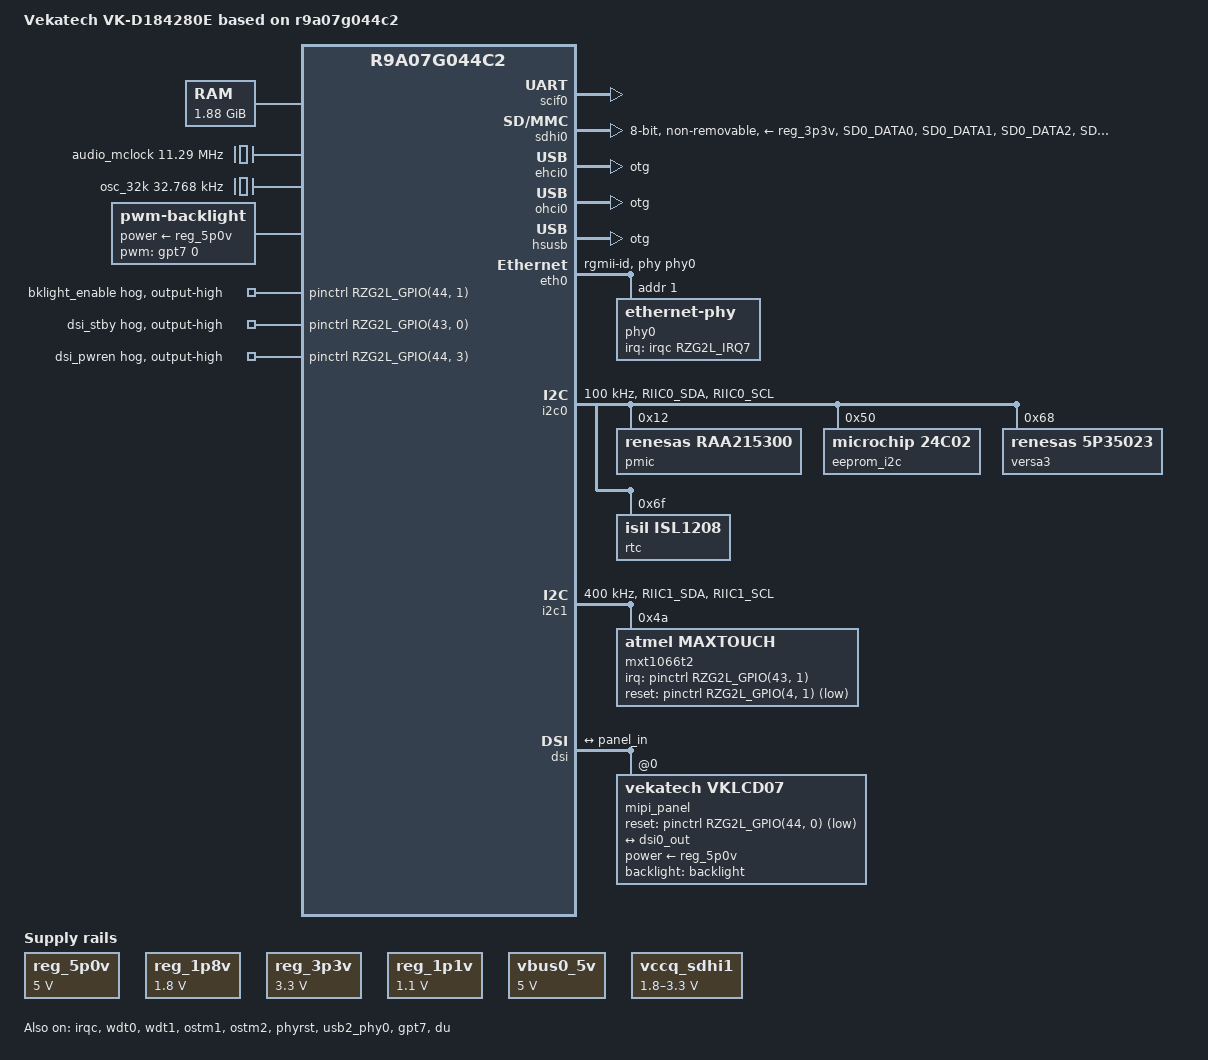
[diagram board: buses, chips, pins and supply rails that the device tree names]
// SPDX-License-Identifier: GPL-2.0
/*
 * Device Tree Source for the Vekatech (VKRZG2LC Dual Cortex-A55)
 *
 * Copyright (C) 2022 Vekatech.
 */

/dts-v1/;

#include "r9a07g044c2.dtsi"
#include <dt-bindings/gpio/gpio.h>
#include <dt-bindings/interrupt-controller/irqc-rzg2l.h>
#include <dt-bindings/pinctrl/rzg2l-pinctrl.h>
#include <dt-bindings/input/input.h>

#define EE070HT  	1
#define KD070HDFIA030  	0
#define KD101WXFID045  	0
#define WIFI_MODULE_1YN 0

/ {
	model = "Vekatech VK-D184280E based on r9a07g044c2";
	compatible = "vekatech,vk-d184280e", "renesas,r9a07g044", "renesas,r9a07g044c2";

	aliases {
		ethernet0 = &eth0;
		serial0 = &scif0;
		serial1 = &scif1;
		serial2 = &scif2;
		serial3 = &scif3;
		i2c0 = &i2c0;
		i2c1 = &i2c1;
		i2c2 = &i2c2;
		i2c3 = &i2c3;
		mmc0 = &sdhi0;
#if WIFI_MODULE_1YN
		mmc1 = &sdhi1;
#endif
	};

	chosen {
		bootargs = "ignore_loglevel";
		stdout-path = "serial0:115200n8";
	};

	memory@48000000 {
		device_type = "memory";
		/* first 128MB is reserved for secure area. */
		reg = <0x0 0x48000000 0x0 0x78000000>;
	};

	reserved-memory {
		#address-cells = <2>;
		#size-cells = <2>;
		ranges;

		global_cma: linux,cma@58000000 {
			compatible = "shared-dma-pool";
			linux,cma-default;
			reusable;
			reg = <0x0 0x58000000 0x0 0x10000000>;
		};

		mmp_reserved: linux,multimedia {
			compatible = "shared-dma-pool";
			reusable;
			reg = <0x00000000 0x68000000 0x0 0x8000000>;
		};
	};

	mmngr {
		compatible = "renesas,mmngr";
		memory-region = <&mmp_reserved>;
	};

	mmngrbuf {
		compatible = "renesas,mmngrbuf";
	};

	vspm_if {
		compatible = "renesas,vspm_if";
	};
#if WIFI_MODULE_1YN
	wifi_pwrseq: wifi_pwrseq {
		compatible = "mmc-pwrseq-simple";
		reset-gpios = <&pinctrl RZG2L_GPIO(23, 1) GPIO_ACTIVE_LOW>;
	};
#endif
	reg_5p0v: regulator0 {
		compatible = "regulator-fixed";
		regulator-name = "MAIN-5.0V";
		regulator-min-microvolt = <5000000>;
		regulator-max-microvolt = <5000000>;
		regulator-boot-on;
		regulator-always-on;
	};

	reg_1p8v: regulator1 {
		compatible = "regulator-fixed";
		regulator-name = "fixed-1.8V";
		regulator-min-microvolt = <1800000>;
		regulator-max-microvolt = <1800000>;
		regulator-boot-on;
		regulator-always-on;
	};

	reg_3p3v: regulator2 {
		compatible = "regulator-fixed";
		regulator-name = "fixed-3.3V";
		regulator-min-microvolt = <3300000>;
		regulator-max-microvolt = <3300000>;
		regulator-boot-on;
		regulator-always-on;
	};

	reg_1p1v: regulator-vdd-core {
		compatible = "regulator-fixed";
		regulator-name = "fixed-1.1V";
		regulator-min-microvolt = <1100000>;
		regulator-max-microvolt = <1100000>;
		regulator-boot-on;
		regulator-always-on;
	};

	vbus0_5v: regulator-vbus0-usb {
		compatible = "regulator-fixed";
		regulator-name = "USB2_VBUS0";
		regulator-min-microvolt = <5000000>;
		regulator-max-microvolt = <5000000>;
		regulator-always-on;
	};

	audio_mclock: audio_mclock {
		compatible = "fixed-clock";
		#clock-cells = <0>;
		clock-frequency = <11289600>;
	};

	osc_32k: osc_32k {
		compatible = "fixed-clock";
		#clock-cells = <0>;
		clock-frequency = <32768>;
	};

	vccq_sdhi1: regulator-vccq-sdhi1 {
		compatible = "regulator-gpio";
		regulator-name = "SDHI1 VccQ";
		regulator-min-microvolt = <1800000>;
		regulator-max-microvolt = <3300000>;
		gpios-states = <1>;
		states = <3300000 1>, <1800000 0>;
	};

	backlight: backlight {
		compatible = "pwm-backlight";
		pwms = <&gpt7 0 40000 0>;
		brightness-levels = <0 8 32 64 96 128 160 192 224 255>;
		default-brightness-level = <7>;
		power-supply = <&reg_5p0v>;
		status = "okay";
	};

	x1_clk: x1-clock {
		compatible = "fixed-clock";
		#clock-cells = <0>;
		clock-frequency = <24000000>;
	};
};

&extal_clk {
	clock-frequency = <24000000>;
};

&audio_clk1{
	clock-frequency = <11289600>;
};

&audio_clk2{
	clock-frequency = <12288000>;
};

&irqc {
	status = "okay";
};

&gpu {
	mali-supply = <&reg_1p1v>;
};

&wdt0 {
	status = "okay";
	timeout-sec = <60>;
};

&wdt1 {
	status = "okay";
	timeout-sec = <60>;
};

&ostm1 {
	status = "okay";
};

&ostm2 {
	status = "okay";
};

&scif0 {
	pinctrl-0 = <&scif0_pins>;
	pinctrl-names = "default";
	status = "okay";
};

#if WIFI_MODULE_1YN
&scif1 {
	status = "okay";

	pinctrl-0 = <&scif1_pins>;
	pinctrl-names = "default";
	uart-has-rtscts;

	bluetooth: bluetooth@0 {
		status = "okay";

		compatible = "brcm,bcm43438-bt";
		vbat-supply = <&reg_3p3v>;
		vddio-supply = <&reg_3p3v>;
		shutdown-gpios = <&pinctrl RZG2L_GPIO(23, 0) GPIO_ACTIVE_HIGH>;
		device-wakeup-gpios = <&pinctrl RZG2L_GPIO(22, 1) GPIO_ACTIVE_HIGH>;
		interrupt-parent = <&pinctrl>;
		interrupts = <RZG2L_GPIO(27, 0) IRQ_TYPE_LEVEL_LOW>;
		interrupt-names = "host-wakeup";
		clocks = <&osc_32k>;
		clock-names = "lpo";
		max-speed = <4000000>;

		// #sound-dai-cells = <0>;
		// brcm,bt-pcm-int-params	= [01 02 00 01 01];
	};
};
#endif

/* for eMMC */
&sdhi0 {
	pinctrl-0 = <&sdhi0_emmc_pins>;
	pinctrl-1 = <&sdhi0_emmc_pins>;
	pinctrl-names = "default", "state_uhs";

	vmmc-supply = <&reg_3p3v>;
	vqmmc-supply = <&reg_1p8v>;
	bus-width = <8>;
	mmc-hs200-1_8v;
	non-removable;
	fixed-emmc-driver-type = <1>;
	status = "okay";
};


#if WIFI_MODULE_1YN

/* Wifi */
&sdhi1 {
	status = "okay";

	#address-cells = <1>;
	#size-cells = <0>;

	pinctrl-names = "default";
	pinctrl-0 = <&wifi_pins>;
	vmmc-supply = <&reg_3p3v>;
	vqmmc-supply = <&vccq_sdhi1>;
	bus-width = <4>;
	non-removable;
	mmc-pwrseq = <&wifi_pwrseq>;
        cap-sd-highspeed;
	cap-power-off-card;
	keep-power-in-suspend;

	brcmf: bcrmf@1 {
		reg = <1>;
		compatible = "brcm,bcm4329-fmac";
		status = "okay";
		interrupt-parent = <&pinctrl>;
		interrupts = <RZG2L_GPIO(40, 2) IRQ_TYPE_LEVEL_HIGH>;
		interrupt-names = "host-wake";
	};
};
#endif

&ehci0 {
	memory-region = <&global_cma>;
	dr_mode = "otg";
	status = "okay";
};

&ohci0 {
	memory-region = <&global_cma>;
	dr_mode = "otg";
	status = "okay";
};

&hsusb {
	dr_mode = "otg";
	status = "okay";
};

&phyrst {
	status = "okay";
};

&usb2_phy0 {
	pinctrl-0 = <&usb0_pins>;
	pinctrl-names = "default";

	vbus-supply = <&vbus0_5v>;
	status = "okay";
};

&eth0 {
	#address-cells = <1>;
	#size-cells = <0>;
	pinctrl-names = "default";
	pinctrl-0 = <&eth0_pins>;
	phy-handle = <&phy0>;
	phy-mode = "rgmii-id";
	status = "okay";

	/* Realtek RTL8211F (0x001cc916) */
	phy0: ethernet-phy@1 {
		reg = <1>;
		interrupt-parent = <&irqc>;
		interrupts = <RZG2L_IRQ7 IRQ_TYPE_LEVEL_LOW>;
	};
};

&i2c0 {
	pinctrl-0 = <&i2c0_pins>;
	pinctrl-names = "default";

	clock-frequency = <100000>;
	status = "okay";

	pmic: raa215300@12 {
		compatible = "renesas,raa215300";
		reg = <0x12>;

		rtc-enable;
	};

	eeprom_i2c: eeprom_i2c@50 {
		status = "okay";
		compatible = "microchip,24c02", "atmel,24c02";
		reg = <0x50>;
		pagesize = <8>;
	};

	versa3: versa3@68 {
		compatible = "renesas,5p35023";
		reg = <0x68>;
		#clock-cells = <1>;
		clocks = <&x1_clk>;
		clock-names = "x1";
		assigned-clocks = <&versa3 0>,	/* DIFF2 Audio CLK2 */
				   		  <&versa3 1>,	/* DIFF1 ETH1/2 CLK */
						  <&versa3 2>,	/* SE3 32768Hz CLK */
					   	  <&versa3 3>,	/* SE2 Audio Master CLK */
					   	  <&versa3 4>,	/* SE1 Audio CLK1 */
					   	  <&versa3 5>;	/* REF RZ EXT */
		assigned-clock-rates =	<12288000>, <25000000>,
		                        <32768>, <12288000>,
		                        <11289600>, <24000000>;
		clock-divider-read-only = <1>, <1>, <1>, <1>, <1>;
		clock-flags = <2176>, <2176>, <2176>, <2052>, <2176>, <2048>;
	};

	rtc: isl1208@6f {
		compatible = "isil,isl1208";
		reg = <0x6f>;

		external-oscillator;
	};
};

&i2c1 {
	status = "okay";

	pinctrl-0 = <&i2c1_pins>;
	pinctrl-names = "default";
	clock-frequency = <400000>;

#if EE070HT
	mxt1066t2: mxt1066t2_ts@4a {
		compatible = "atmel,maxtouch";
		reg = <0x4a>;

		status = "okay";

		interrupt-parent = <&pinctrl>;
		interrupts = <RZG2L_GPIO(43, 1) IRQ_TYPE_LEVEL_LOW>;
		irq-gpios = <&pinctrl RZG2L_GPIO(43, 1) GPIO_ACTIVE_HIGH>;   	/* DSI_TS_nINT */
		reset-gpios = <&pinctrl RZG2L_GPIO(4, 1) GPIO_ACTIVE_LOW>;
	};
#endif
#if KD070HDFIA030
	gt9271: gt9271_ts@5d {
		compatible = "goodix,gt911"; 
		reg = <0x5d>;

		status = "okay";

		interrupt-parent = <&pinctrl>;
		interrupts = <RZG2L_GPIO(43, 1) IRQ_TYPE_LEVEL_LOW>;
		irq-gpios = <&pinctrl RZG2L_GPIO(43, 1) GPIO_ACTIVE_HIGH>;   	/* DSI_TS_nINT */
		reset-gpios = <&pinctrl RZG2L_GPIO(4, 1) GPIO_ACTIVE_LOW>;
		touchscreen-size-x = <1024>;
		touchscreen-size-y = <600>;
		touchscreen-inverted-x;
		touchscreen-inverted-y;
	};
#endif
#if KD101WXFID045
	ft5626: ft5626_ts@38 {
		compatible = "edt,edt-ft5506";
		reg = <0x38>;

		status = "okay";

		interrupt-parent = <&pinctrl>;
		interrupts = <RZG2L_GPIO(43, 1) IRQ_TYPE_LEVEL_LOW>;
		irq-gpios = <&pinctrl RZG2L_GPIO(43, 1) GPIO_ACTIVE_HIGH>;  	/* DSI_TS_nINT */
		reset-gpios = <&pinctrl RZG2L_GPIO(4, 1) GPIO_ACTIVE_LOW>;
		touchscreen-size-x = <1280>;
		touchscreen-size-y = <800>;
		touchscreen-inverted-x;
		touchscreen-inverted-y;
		vcc-supply = <&reg_3p3v>;
	};
#endif
};

&gpt7 {
	pinctrl-0 = <&gpt7_pins>;
	pinctrl-names = "default";
	channel="channel_A";
	status = "okay";
};

&dsi {
	status = "okay";
	#address-cells = <1>;
	#size-cells = <0>;

	ports {
		port@1 {
			dsi0_out: endpoint {
				data-lanes = <1 2 3 4>;
				remote-endpoint = <&panel_in>;
			};
		};
	};

#if EE070HT
	mipi_panel: panel@0 {
		status = "okay";
		power-supply = <&reg_5p0v>;
		reg = <0>;
		backlight = <&backlight>;
		compatible = "vekatech,vklcd07","fitipower,ek79007ad";

		reset-gpios = <&pinctrl RZG2L_GPIO(44, 0) GPIO_ACTIVE_LOW>;
		lcd-model = "vklcd07";
		dsi-lanes = <4>;
		port {
			panel_in: endpoint {
				remote-endpoint = <&dsi0_out>;
			};
		};
	};
#endif
#if KD070HDFIA030
	mipi_panel: panel@0 {
		status = "okay";
		power-supply = <&reg_5p0v>;
		reg = <0>;
		backlight = <&backlight>;
		compatible = "vekatech,vklcd-kd070hdfia030","fitipower,ek79007ad";

		reset-gpios = <&pinctrl RZG2L_GPIO(44, 0) GPIO_ACTIVE_LOW>;
		lcd-model = "kd070hdfia030";
		dsi-lanes = <4>;
		port {
			panel_in: endpoint {
				remote-endpoint = <&dsi0_out>;
			};
		};
	};
#endif
#if KD101WXFID045
	mipi_panel: panel@0 {
		status = "okay";
		power-supply = <&reg_5p0v>;
		reg = <0>;
		backlight = <&backlight>;
		compatible = "vekatech,vklcd-kd101wxfid045","fitipower,ek79202d";

		reset-gpios = <&pinctrl RZG2L_GPIO(44, 0) GPIO_ACTIVE_LOW>;
		lcd-model = "kd101wxfid045";
		dsi-lanes = <4>;
		video-mode = <2>;
		port {
			panel_in: endpoint {
				remote-endpoint = <&dsi0_out>;
			};
		};
	};
#endif
};

&du {
	status = "okay";
};

&sbc {
	status = "disabled";

	flash@0 {
		compatible = "mxicy,mx25l51245g", "jedec,spi-nor";
		spi-max-frequency = <50000000>;
		reg = <0>;
		spi-rx-bus-width = <4>;
		spi-tx-bus-width = <4>;
		m25p,fast-read;

		partitions {
			compatible = "fixed-partitions";
			#address-cells = <1>;
			#size-cells = <1>;

			partition@0 {
				label = "bl2";
				reg = <0x00000000 0x0001D200>;
				read-only;
			};
			partition@1D200 {
				label = "fip";
				reg = <0x0001D200 0x001C2E00>;
				read-only;
			};
			partition@1E0000 {
				label = "env";
				reg = <0x001E0000 0x00020000>;
				read-only;
			};
			partition@200000 {
				label = "qspi-area";
				reg = <0x00200000 0x03E00000>;
			};
		};
	};
};

&pinctrl {
	//pinctrl-0 = <&sound_clk_pins>;
	pinctrl-names = "default";

	scif0_pins: scif0 {
		pinmux = <RZG2L_PORT_PINMUX(38, 0, 1)>,	/* TxD */
			 <RZG2L_PORT_PINMUX(38, 1, 1)>;	/* RxD */
	};
#if WIFI_MODULE_1YN
	scif1_pins: scif1 {
		pinmux = <RZG2L_PORT_PINMUX(40, 0, 1)>, /* TxD */
			 <RZG2L_PORT_PINMUX(40, 1, 1)>, /* RxD */
			 <RZG2L_PORT_PINMUX(41, 0, 1)>, /* CTS# */
			 <RZG2L_PORT_PINMUX(41, 1, 1)>; /* RTS# */
	};
#endif
	i2c0_pins: i2c0 {
		pins = "RIIC0_SDA", "RIIC0_SCL";
		input-enable;
	};

	i2c1_pins: i2c1 {
		pins = "RIIC1_SDA", "RIIC1_SCL";
		input-enable;
	};

	eth0_pins: eth0 {
		pinmux = <RZG2L_PORT_PINMUX(28, 1, 1)>, /* ET0_LINKSTA */
			 <RZG2L_PORT_PINMUX(27, 1, 1)>, /* ET0_MDC */
			 <RZG2L_PORT_PINMUX(28, 0, 1)>, /* ET0_MDIO */
			 <RZG2L_PORT_PINMUX(20, 0, 1)>, /* ET0_TXC */
			 <RZG2L_PORT_PINMUX(20, 1, 1)>, /* ET0_TX_CTL */
			 <RZG2L_PORT_PINMUX(20, 2, 1)>, /* ET0_TXD0 */
			 <RZG2L_PORT_PINMUX(21, 0, 1)>, /* ET0_TXD1 */
			 <RZG2L_PORT_PINMUX(21, 1, 1)>, /* ET0_TXD2 */
			 <RZG2L_PORT_PINMUX(22, 0, 1)>, /* ET0_TXD3 */
			 <RZG2L_PORT_PINMUX(24, 0, 1)>, /* ET0_RXC */
			 <RZG2L_PORT_PINMUX(24, 1, 1)>, /* ET0_RX_CTL */
			 <RZG2L_PORT_PINMUX(25, 0, 1)>, /* ET0_RXD0 */
			 <RZG2L_PORT_PINMUX(25, 1, 1)>, /* ET0_RXD1 */
			 <RZG2L_PORT_PINMUX(26, 0, 1)>, /* ET0_RXD2 */
			 <RZG2L_PORT_PINMUX(26, 1, 1)>, /* ET0_RXD3 */
			 <RZG2L_PORT_PINMUX(43, 3, 4)>; /* IRQ7     */
	};

	usb0_pins: usb0 {
		pinmux = <RZG2L_PORT_PINMUX(4, 0, 1)>, /* VBUS */
			 <RZG2L_PORT_PINMUX(5, 0, 1)>; /* OVC */
	};

	bl-en-hog {
		gpio-hog;
		gpios = <RZG2L_GPIO(44, 1) GPIO_ACTIVE_HIGH>;
		output-high;
		line-name = "bklight_enable";
	};

	gpt7_pins: gpt7 {
		pinmux = <RZG2L_PORT_PINMUX(44, 2, 5)>; /* Channel A */
	};

	dsi-stby-hog {
		gpio-hog;
		gpios = <RZG2L_GPIO(43, 0) GPIO_ACTIVE_HIGH>;
		output-high;
		line-name = "dsi_stby";
	};

	dsi-pwren-hog {
		gpio-hog;
		gpios = <RZG2L_GPIO(44, 3) GPIO_ACTIVE_HIGH>;
		output-high;
		line-name = "dsi_pwren";
	};

	sdhi0_emmc_pins: sd0emmc {
		sd0_emmc_data {
			pins = "SD0_DATA0", "SD0_DATA1", "SD0_DATA2", "SD0_DATA3",
			       "SD0_DATA4", "SD0_DATA5", "SD0_DATA6", "SD0_DATA7";
			power-source = <1800>;
		};

		sd0_emmc_ctrl {
			pins = "SD0_CLK", "SD0_CMD";
			power-source = <1800>;
		};

		sd0_emmc_rst {
			pins = "SD0_RST#";
			power-source = <1800>;
		};
	};
#if WIFI_MODULE_1YN
	wifi_pins: wifi {
		wifi_data {
			pins = "SD1_DATA0", "SD1_DATA1", "SD1_DATA2", "SD1_DATA3";
			power-source  = <3300>;
		};

		wifi_ctrl {
			pins = "SD1_CLK", "SD1_CMD";
			power-source  = <3300>;
		};
	};
#endif
};
